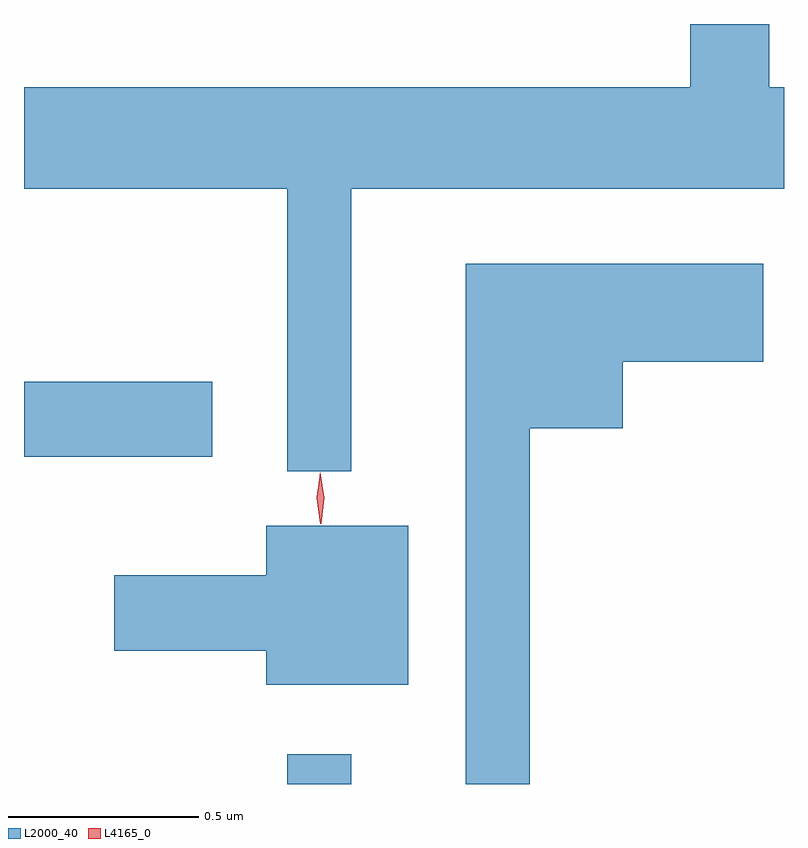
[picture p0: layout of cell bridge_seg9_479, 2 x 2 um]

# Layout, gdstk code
import gdstk
lib = gdstk.Library(unit=1e-6, precision=1e-09)
def R(c, l, rs):  # rectangles x0, y0, x1, y1
    for r in rs: c.add(gdstk.rectangle(r[:2], r[2:], *l))
def P(c, l, *ps):  # polygons
    for p in ps: c.add(gdstk.Polygon(p, *l))
L2000_40 = (2000, 40)
L4165_0 = (4165, 0)

bridge_seg9_479 = lib.new_cell('bridge_seg9_479')
R(bridge_seg9_479, L2000_40, [(439.571,1988.03,439.739,1988.108), (438.878,1988.891,439.374,1989.089)])
P(bridge_seg9_479, L2000_40, [(439.739,1989.596),(440.878,1989.596),(440.878,1989.864),(440.839,1989.864),(440.839,1990.03),(440.631,1990.03),(440.631,1989.864),(438.878,1989.864),(438.878,1989.596),(439.571,1989.596),(439.571,1988.853),(439.739,1988.853)],
  [(440.209,1988.966),(440.454,1988.966),(440.454,1989.141),(440.824,1989.141),(440.824,1989.399),(440.041,1989.399),(440.041,1988.03),(440.209,1988.03)],
  [(439.889,1988.709),(439.516,1988.709),(439.516,1988.579),(439.116,1988.579),(439.116,1988.381),(439.516,1988.381),(439.516,1988.291),(439.889,1988.291)])
P(bridge_seg9_479, L4165_0, [(439.658,1988.715),(439.648,1988.782),(439.658,1988.85),(439.658,1988.85),(439.658,1988.85),(439.668,1988.782),(439.66,1988.715),(439.659,1988.715)],
  [(439.658,1988.721),(439.648,1988.784),(439.658,1988.846),(439.658,1988.847),(439.658,1988.846),(439.668,1988.784),(439.66,1988.721),(439.659,1988.721)])

lib.write_gds('bridge_seg9_479.gds')
